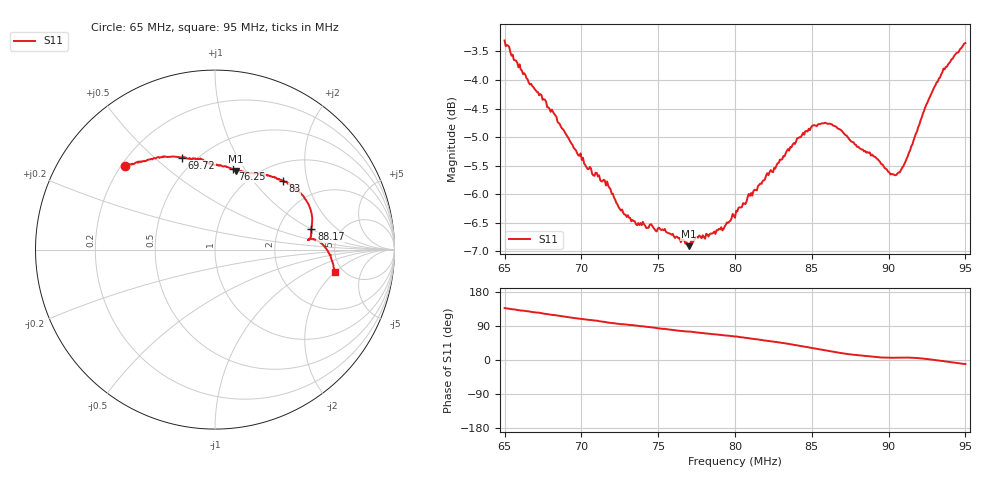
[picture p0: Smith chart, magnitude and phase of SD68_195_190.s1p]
! NanoVNA-App
! Date: 2025-08-09 16:26:34
! Start: 65MHz Stop: 95MHz Points: 401
! S-Parameter data: F S11
# Hz S RI R 50
!  Frequency  S11_Real  S11_Imag
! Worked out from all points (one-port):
!   401 points, 65 MHz to 95 MHz, reference 50 ohm
!   lowest |S11| = -6.9 dB at 77 MHz (marker M1), VSWR 2.65, Z = 41 + j44.9 ohm
!   |S11| at or under -10 dB: nowhere
!   S11 on the Smith chart (normalised r, x): 65 MHz: 0.22, +0.38; 69.72 MHz: 0.42, +0.62; 76.25 MHz: 0.78, +0.89; 83 MHz: 1.33, +1.43; 88.17 MHz: 3.08, +1.00; 95 MHz: 4.25, -2.01
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6.5e7  -0.4992 0.4667
6.59e7  -0.4297 0.4842
6.755e7  -0.3239 0.5133
6.875e7  -0.2443 0.5171
6.9725e7  -0.1827 0.5128
7.16e7  -0.089 0.5023
7.25e7  -0.0411 0.4849
7.3625e7  -0.00448 0.4708
7.46e7  0.0334 0.4694
7.625e7  0.0982 0.4492
7.7e7  0.1166 0.4361
7.9175e7  0.1922 0.4245
8e7  0.2248 0.4218
8.165e7  0.3079 0.4092
8.3e7  0.3775 0.3826
8.375e7  0.4195 0.3616
8.4725e7  0.4716 0.3178
8.585e7  0.5222 0.25
8.6675e7  0.5389 0.1928
8.75e7  0.5399 0.1433
8.8175e7  0.5375 0.1132
8.9675e7  0.527 0.0596
9.0575e7  0.5196 0.0559
9.125e7  0.5377 0.06
9.1925e7  0.5717 0.0495
9.2675e7  0.6089 0.0186
9.3575e7  0.645 -0.029
9.5e7  0.6677 -0.1275
